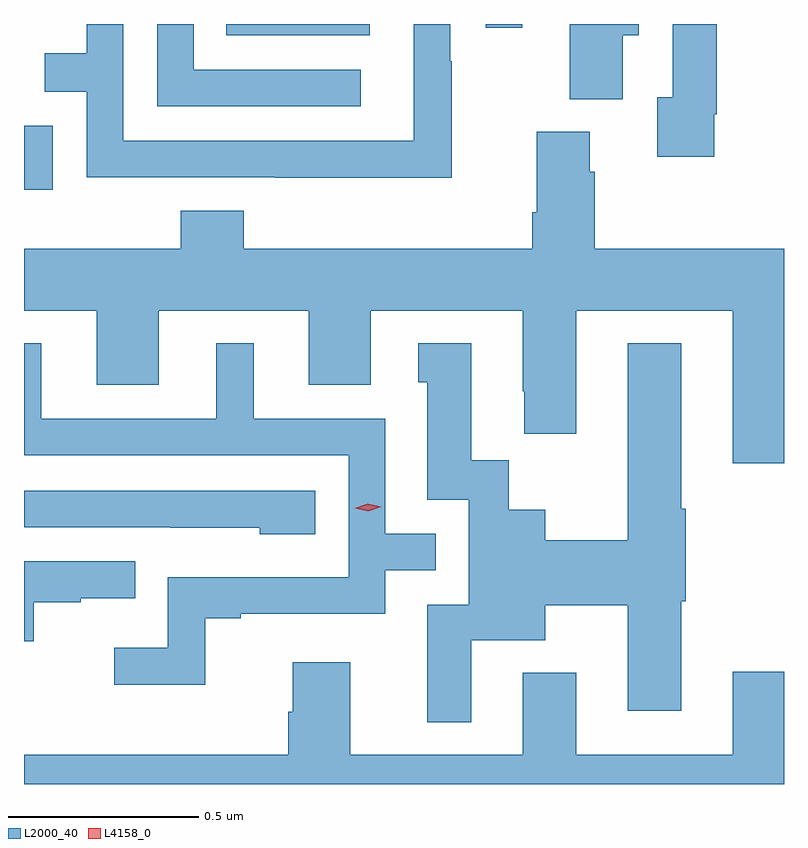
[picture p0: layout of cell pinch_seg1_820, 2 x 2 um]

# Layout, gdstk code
import gdstk
lib = gdstk.Library(unit=1e-6, precision=1e-09)
def R(c, l, rs):  # rectangles x0, y0, x1, y1
    for r in rs: c.add(gdstk.rectangle(r[:2], r[2:], *l))
def P(c, l, *ps):  # polygons
    for p in ps: c.add(gdstk.Polygon(p, *l))
L2000_40 = (2000, 40)
L4158_0 = (4158, 0)

pinch_seg1_820 = lib.new_cell('pinch_seg1_820')
R(pinch_seg1_820, L2000_40, [(384.576,581.355,384.651,581.523), (385.108,581.762,385.486,581.791), (385.791,581.781,385.887,581.791)])
P(pinch_seg1_820, L2000_40, [(385.701,581.693),(385.698,581.693),(385.698,581.791),(385.602,581.791),(385.602,581.484),(384.837,581.484),(384.837,581.791),(384.741,581.791),(384.741,581.714),(384.631,581.714),(384.631,581.613),(384.741,581.613),(384.741,581.388),(385.237,581.388),(385.237,581.387),(385.701,581.387)],
  [(386.392,581.554),(386.399,581.554),(386.399,581.791),(386.283,581.791),(386.283,581.598),(386.243,581.598),(386.243,581.442),(386.392,581.442)],
  [(386.152,581.762),(386.194,581.762),(386.194,581.791),(386.012,581.791),(386.012,581.593),(386.152,581.593)],
  [(385.462,581.67),(385.023,581.67),(385.023,581.791),(384.927,581.791),(384.927,581.574),(385.462,581.574)],
  [(386.576,581.2),(386.078,581.2),(386.078,581.402),(386.065,581.402),(386.065,581.508),(385.925,581.508),(385.925,581.296),(385.913,581.296),(385.913,581.2),(385.154,581.2),(385.154,581.299),(384.989,581.299),(384.989,581.2),(384.576,581.2),(384.576,581.036),(384.767,581.036),(384.767,580.842),(384.931,580.842),(384.931,581.036),(385.325,581.036),(385.325,580.842),(385.489,580.842),(385.489,581.036),(385.889,581.036),(385.889,580.825),(385.892,580.825),(385.892,580.713),(386.029,580.713),(386.029,581.036),(386.441,581.036),(386.441,580.635),(386.576,580.635)],
  [(385.053,580.227),(385.147,580.227),(385.147,580.239),(385.527,580.239),(385.527,580.353),(385.66,580.353),(385.66,580.449),(385.527,580.449),(385.527,580.752),(385.18,580.752),(385.18,580.951),(385.082,580.951),(385.082,580.752),(384.622,580.752),(384.622,580.951),(384.576,580.951),(384.576,580.656),(385.431,580.656),(385.431,580.335),(384.954,580.335),(384.954,580.15),(384.813,580.15),(384.813,580.052),(385.053,580.052)],
  [(385.753,580.169),(385.948,580.169),(385.948,580.261),(386.165,580.261),(386.165,579.984),(386.305,579.984),(386.305,580.272),(386.318,580.272),(386.318,580.516),(386.305,580.516),(386.305,580.951),(386.165,580.951),(386.165,580.433),(385.948,580.433),(385.948,580.513),(385.851,580.513),(385.851,580.643),(385.753,580.643),(385.753,580.951),(385.613,580.951),(385.613,580.848),(385.637,580.848),(385.637,580.539),(385.746,580.539),(385.746,580.263),(385.637,580.263),(385.637,579.954),(385.753,579.954)],
  [(385.342,580.563),(384.576,580.563),(384.576,580.467),(384.961,580.467),(384.961,580.466),(385.197,580.466),(385.197,580.448),(385.342,580.448)],
  [(384.602,580.269),(384.725,580.269),(384.725,580.28),(384.869,580.28),(384.869,580.377),(384.576,580.377),(384.576,580.167),(384.602,580.167)],
  [(386.576,580.087),(386.441,580.087),(386.441,579.868),(386.029,579.868),(386.029,580.084),(385.889,580.084),(385.889,579.868),(385.435,579.868),(385.435,580.111),(385.283,580.111),(385.283,579.981),(385.271,579.981),(385.271,579.868),(384.576,579.868),(384.576,579.791),(386.576,579.791)])
P(pinch_seg1_820, L4158_0, [(385.482,580.509),(385.447,580.517),(385.446,580.517),(385.447,580.517),(385.481,580.529),(385.516,580.521),(385.516,580.521),(385.516,580.521)])

lib.write_gds('pinch_seg1_820.gds')
